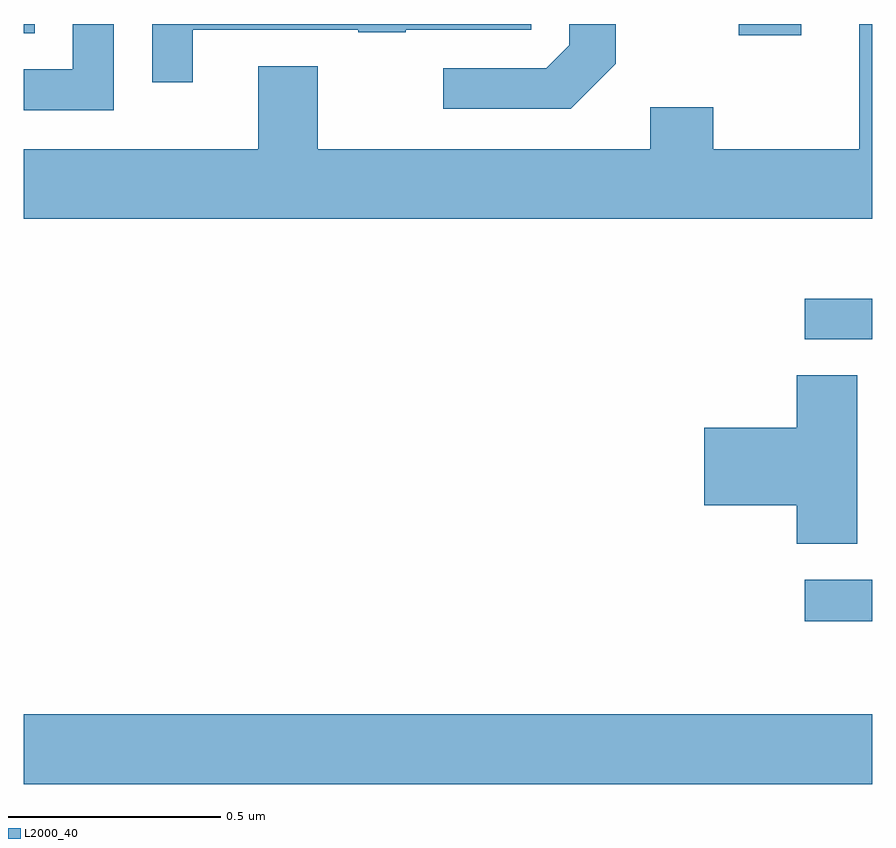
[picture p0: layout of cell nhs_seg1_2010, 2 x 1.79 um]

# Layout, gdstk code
import gdstk
lib = gdstk.Library(unit=1e-6, precision=1e-09)
def R(c, l, rs):  # rectangles x0, y0, x1, y1
    for r in rs: c.add(gdstk.rectangle(r[:2], r[2:], *l))
def P(c, l, *ps):  # polygons
    for p in ps: c.add(gdstk.Polygon(p, *l))
L2000_40 = (2000, 40)

nhs_seg1_2010 = lib.new_cell('nhs_seg1_2010')
R(nhs_seg1_2010, L2000_40, [(136,542.408,138,542.572), (137.841,542.791,138,542.889), (137.841,543.456,138,543.552), (137.685,544.173,137.833,544.199), (136,544.177,136.026,544.199)])
P(nhs_seg1_2010, L2000_40, [(138,544.199),(137.969,544.199),(137.969,543.904),(137.625,543.904),(137.625,544.003),(137.477,544.003),(137.477,543.904),(136.693,543.904),(136.693,544.099),(136.553,544.099),(136.553,543.904),(136,543.904),(136,543.74),(138,543.74)],
  [(137.395,544.105),(137.395,544.199),(137.286,544.199),(137.286,544.149),(137.232,544.095),(136.989,544.095),(136.989,543.999),(137.289,543.999)],
  [(136.399,544.185),(136.789,544.185),(136.789,544.18),(136.901,544.18),(136.901,544.185),(137.196,544.185),(137.196,544.199),(136.303,544.199),(136.303,544.062),(136.399,544.062)],
  [(136.212,544.199),(136.116,544.199),(136.116,544.092),(136,544.092),(136,543.996),(136.212,543.996)],
  [(137.965,543.371),(137.822,543.371),(137.822,543.248),(137.604,543.248),(137.604,543.065),(137.822,543.065),(137.822,542.974),(137.965,542.974)])

lib.write_gds('nhs_seg1_2010.gds')
